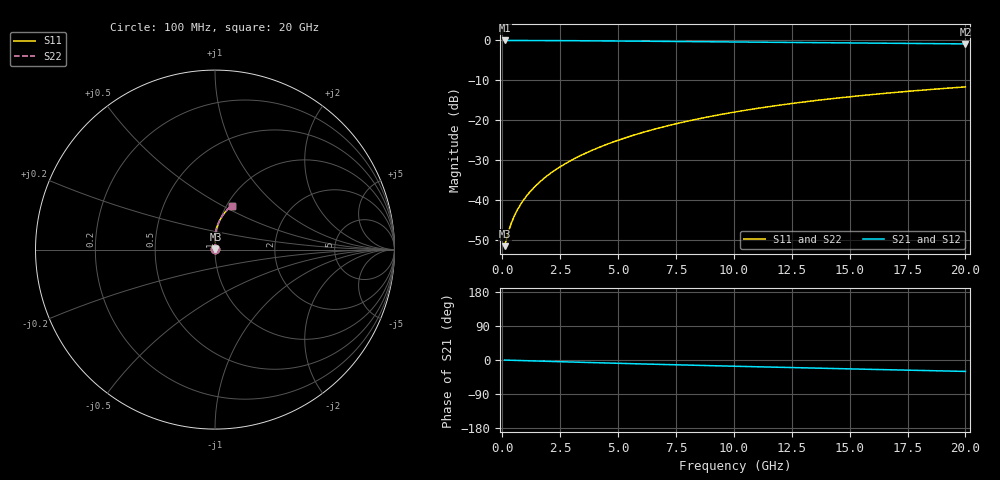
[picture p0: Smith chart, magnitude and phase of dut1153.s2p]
! Touchstone file exported from HFSS 2024.1.0
!  File:  C:/UserFiles/LocalFiles/RDL_TSV_Batchsim/temp_RDL_bottom_1153_1780056115.aedt
!  Generated:  08:04:20 PM May 29, 2026
!  Design:  RDL_bottom
!  Project:  temp_RDL_bottom_1153_1780056115
!  Setup:  Setup1
!  Solution:  Sweep
! Variables:
!  dtsv = 10.80580581um
!  hbump = 3um
!  htsv = 77.84um
!  ldown = 424.21um
!  lrdl = 100um
!  p = 40
!  p1 = 50.52um
!  rhole = 1um
!  t = 450um
!  tdown = 2.69um
!  trdl = 3.915915916um
!  wdown = 27.83um
!  wrdl = 20um
# GHz S MA R 50.000000
! Terminal data exported
! Port[1] = RDL1_T1
! Port[2] = RDL1_T2
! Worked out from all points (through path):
!   200 points, 100 MHz to 20 GHz, reference 50 ohm
!   highest |S21| = -0.02 dB at 100 MHz (marker M1); lowest = -0.9 dB at 20 GHz (marker M2)
!   group delay of S21, straight-line fit = 4.13 ps
!   lowest |S11| = -51.6 dB at 100 MHz (marker M3), VSWR 1.01, Z = 50.2 + j0.12 ohm
!   |S11| at or under -10 dB: start of sweep to end of sweep
!   |S22| runs from -51.6 to -11.7 dB; largest |S21 - S12| = 3.7e-15
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0.1  0.002618 27.1  0.9977 -0.2  0.9977 -0.2  0.002618 27.1
! Gamma 0 0 0 0
! Port Impedance 50 0 50 0
0.3  0.004263 53.2  0.9974 -0.6  0.9974 -0.6  0.004263 53.2
0.4  0.005175 59.0  0.9972 -0.8  0.9972 -0.8  0.005175 59.0
0.5  0.006086 63.2  0.997 -0.9  0.997 -0.9  0.006086 63.2
0.6  0.006996 66.5  0.9968 -1.1  0.9968 -1.1  0.006996 66.5
0.8  0.00883 71.3  0.9965 -1.5  0.9965 -1.5  0.00883 71.3
1  0.0107 74.8  0.9962 -1.8  0.9962 -1.8  0.0107 74.8
1.2  0.01261 77.5  0.9958 -2.2  0.9958 -2.2  0.01261 77.5
1.7  0.01756 82.1  0.9948 -3.1  0.9948 -3.1  0.01756 82.1
2.2  0.02274 85.0  0.9934 -4.0  0.9934 -4.0  0.02274 85.0
2.8  0.02925 87.2  0.9914 -5.0  0.9914 -5.0  0.02925 87.3
3.5  0.03726 88.8  0.9887 -6.2  0.9887 -6.2  0.03726 88.9
4.2  0.0457 89.7  0.9856 -7.4  0.9856 -7.4  0.04571 89.7
5  0.05582 90.1  0.9818 -8.8  0.9818 -8.8  0.05583 90.1
5.9  0.06773 89.9  0.9772 -10.2  0.9772 -10.2  0.06774 90.0
6.8  0.08006 89.3  0.9724 -11.6  0.9724 -11.6  0.08008 89.4
8.4  0.1027 87.6  0.9637 -14.1  0.9637 -14.1  0.1027 87.6
10.1  0.1271 85.1  0.9545 -16.6  0.9545 -16.6  0.1271 85.1
11.7  0.15 82.6  0.946 -18.9  0.946 -18.9  0.1501 82.6
13.4  0.174 79.8  0.9372 -21.2  0.9372 -21.2  0.1741 79.8
16.7  0.2188 74.4  0.9203 -25.8  0.9203 -25.8  0.2189 74.4
20  0.2608 69.3  0.9036 -30.1  0.9036 -30.1  0.2609 69.3
